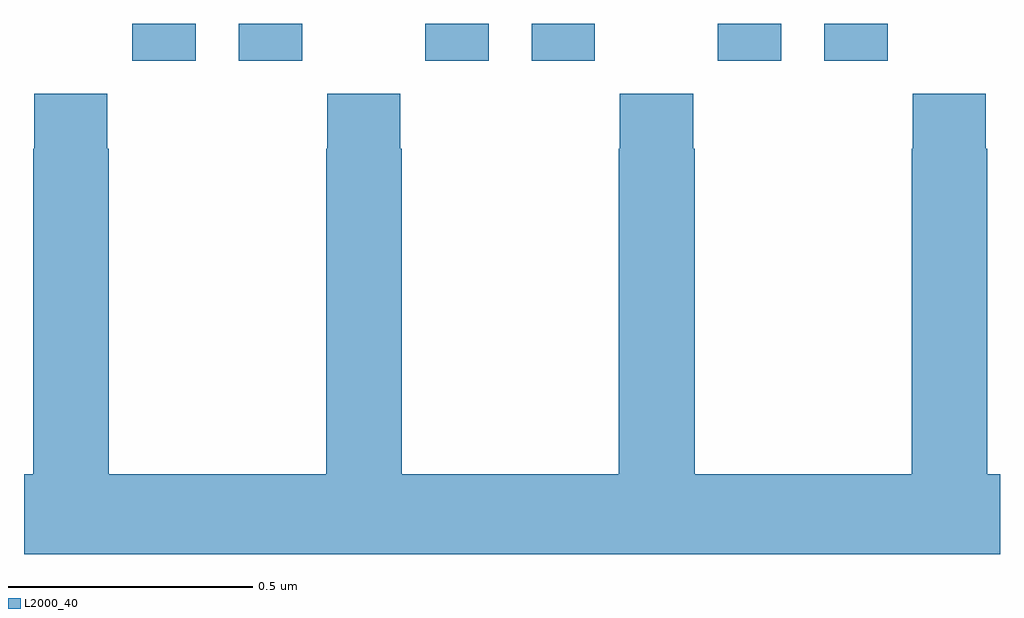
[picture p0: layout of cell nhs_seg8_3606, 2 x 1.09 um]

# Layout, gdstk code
import gdstk
lib = gdstk.Library(unit=1e-6, precision=1e-09)
def R(c, l, rs):  # rectangles x0, y0, x1, y1
    for r in rs: c.add(gdstk.rectangle(r[:2], r[2:], *l))
def P(c, l, *ps):  # polygons
    for p in ps: c.add(gdstk.Polygon(p, *l))
L2000_40 = (2000, 40)

nhs_seg8_3606 = lib.new_cell('nhs_seg8_3606')
R(nhs_seg8_3606, L2000_40, [(159.222,1138.824,159.352,1138.9), (159.44,1138.824,159.57,1138.9), (159.822,1138.824,159.952,1138.9), (160.04,1138.824,160.17,1138.9), (160.422,1138.824,160.552,1138.9), (160.64,1138.824,160.77,1138.9)])
P(nhs_seg8_3606, L2000_40, [(159.171,1138.643),(159.171,1138.756),(159.021,1138.756),(159.021,1138.643),(159.019,1138.643),(159.019,1137.976),(159,1137.976),(159,1137.812),(161,1137.812),(161,1137.976),(160.974,1137.976),(160.974,1138.643),(160.971,1138.643),(160.971,1138.756),(160.821,1138.756),(160.821,1138.643),(160.819,1138.643),(160.819,1137.976),(160.374,1137.976),(160.374,1138.643),(160.371,1138.643),(160.371,1138.756),(160.221,1138.756),(160.221,1138.643),(160.219,1138.643),(160.219,1137.976),(159.774,1137.976),(159.774,1138.643),(159.771,1138.643),(159.771,1138.756),(159.621,1138.756),(159.621,1138.643),(159.619,1138.643),(159.619,1137.976),(159.174,1137.976),(159.174,1138.643)])

lib.write_gds('nhs_seg8_3606.gds')
